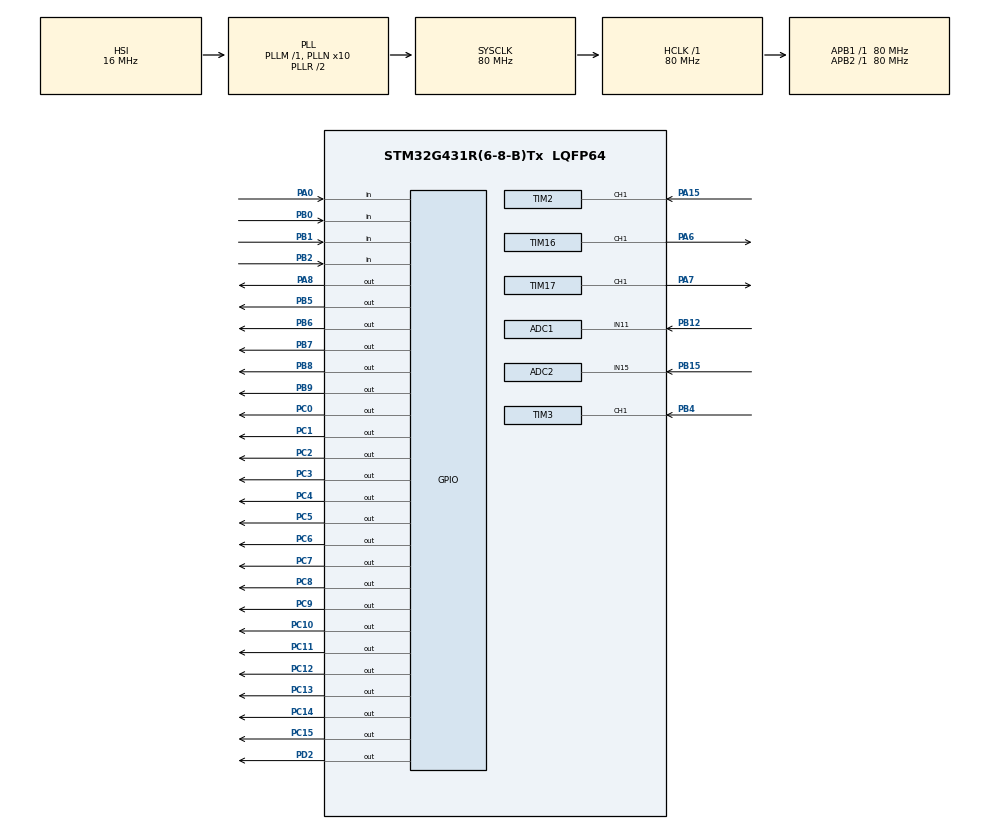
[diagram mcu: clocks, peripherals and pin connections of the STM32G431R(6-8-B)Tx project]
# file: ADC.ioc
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ADC1.Channel-0\#ChannelRegularConversion=ADC_CHANNEL_11
ADC1.NbrOfConversionFlag=1
ADC1.OffsetNumber-0\#ChannelRegularConversion=ADC_OFFSET_NONE
ADC1.Rank-0\#ChannelRegularConversion=1
ADC1.SamplingTime-0\#ChannelRegularConversion=ADC_SAMPLETIME_2CYCLES_5
ADC1.master=1
ADC2.Channel-0\#ChannelRegularConversion=ADC_CHANNEL_15
ADC2.NbrOfConversionFlag=1
ADC2.OffsetNumber-0\#ChannelRegularConversion=ADC_OFFSET_NONE
ADC2.Rank-0\#ChannelRegularConversion=1
ADC2.SamplingTime-0\#ChannelRegularConversion=ADC_SAMPLETIME_2CYCLES_5
Mcu.Family=STM32G4
Mcu.Name=STM32G431R(6-8-B)Tx
Mcu.Package=LQFP64
NVIC.PriorityGroup=NVIC_PRIORITYGROUP_4
NVIC.TIM2_IRQn=true\:0\:0\:false\:false\:true\:true\:true\:true
NVIC.TIM3_IRQn=true\:0\:0\:false\:false\:true\:true\:true\:true
NVIC.TIM4_IRQn=true\:0\:0\:false\:false\:true\:true\:true\:true
PA0.GPIO_PuPd=GPIO_PULLDOWN
PA0.Signal=GPIO_Input
PA13.Mode=Serial_Wire
PA13.Signal=SYS_JTMS-SWDIO
PA14.Mode=Serial_Wire
PA14.Signal=SYS_JTCK-SWCLK
PA15.Signal=S_TIM2_CH1
PA6.Signal=S_TIM16_CH1
PA7.Signal=S_TIM17_CH1
PA8.Signal=GPIO_Output
PB0.GPIO_PuPd=GPIO_PULLDOWN
PB0.Signal=GPIO_Input
PB1.GPIO_PuPd=GPIO_PULLDOWN
PB1.Signal=GPIO_Input
PB12.Mode=IN11-Single-Ended
PB12.Signal=ADC1_IN11
PB15.Mode=IN15-Single-Ended
PB15.Signal=ADC2_IN15
PB2.GPIO_PuPd=GPIO_PULLDOWN
PB2.Signal=GPIO_Input
PB4.Signal=S_TIM3_CH1
PB5.Signal=GPIO_Output
PB6.Signal=GPIO_Output
PB7.Signal=GPIO_Output
PB8-BOOT0.Signal=GPIO_Output
PB9.Signal=GPIO_Output
PC0.Signal=GPIO_Output
PC1.Signal=GPIO_Output
PC10.PinState=GPIO_PIN_SET
PC10.Signal=GPIO_Output
PC11.PinState=GPIO_PIN_SET
PC11.Signal=GPIO_Output
PC12.PinState=GPIO_PIN_SET
PC12.Signal=GPIO_Output
PC13.PinState=GPIO_PIN_SET
PC13.Signal=GPIO_Output
PC14-OSC32_IN.PinState=GPIO_PIN_SET
PC14-OSC32_IN.Signal=GPIO_Output
PC15-OSC32_OUT.PinState=GPIO_PIN_SET
PC15-OSC32_OUT.Signal=GPIO_Output
PC2.Signal=GPIO_Output
PC3.Signal=GPIO_Output
PC4.Signal=GPIO_Output
PC5.Signal=GPIO_Output
PC6.Signal=GPIO_Output
PC7.Signal=GPIO_Output
PC8.PinState=GPIO_PIN_SET
PC8.Signal=GPIO_Output
PC9.PinState=GPIO_PIN_SET
PC9.Signal=GPIO_Output
PD2.Signal=GPIO_Output
PF0-OSC_IN.Mode=HSE-External-Oscillator
PF0-OSC_IN.Signal=RCC_OSC_IN
PF1-OSC_OUT.Mode=HSE-External-Oscillator
PF1-OSC_OUT.Signal=RCC_OSC_OUT
ProjectManager.HeapSize=0x200
ProjectManager.StackSize=0x400
ProjectManager.TargetToolchain=MDK-ARM V5.32
RCC.ADC12Freq_Value=80000000
RCC.AHBFreq_Value=80000000
RCC.APB1Freq_Value=80000000
RCC.APB1TimFreq_Value=80000000
RCC.APB2Freq_Value=80000000
RCC.APB2TimFreq_Value=80000000
RCC.CortexFreq_Value=80000000
RCC.EXTERNAL_CLOCK_VALUE=12288000
RCC.HCLKFreq_Value=80000000
RCC.HSE_VALUE=24000000
RCC.HSI48_VALUE=48000000
RCC.HSI_VALUE=16000000
RCC.LSE_VALUE=32768
RCC.PLLN=10
RCC.SYSCLKFreq_VALUE=80000000
RCC.SYSCLKSource=RCC_SYSCLKSOURCE_PLLCLK
RCC.USBFreq_Value=80000000
RCC.VCOOutputFreq_Value=160000000
SH.S_TIM16_CH1.0=TIM16_CH1,PWM Generation1 CH1
SH.S_TIM17_CH1.0=TIM17_CH1,PWM Generation1 CH1
SH.S_TIM2_CH1.0=TIM2_CH1,Input_Capture1_from_TI1
SH.S_TIM3_CH1.0=TIM3_CH1,Input_Capture1_from_TI1
TIM16.Channel=TIM_CHANNEL_1
TIM16.PeriodNoDither=100-1
TIM16.Prescaler=8000-1
TIM16.PulseNoDither_1=20
TIM17.Channel=TIM_CHANNEL_1
TIM17.PeriodNoDither=100-1
TIM17.Prescaler=4000-1
TIM17.PulseNoDither_1=20
TIM2.Channel-Input_Capture1_from_TI1=TIM_CHANNEL_1
TIM2.Channel-Input_Capture2_from_TI1_63=TIM_CHANNEL_2
TIM2.ICPolarity_CH2=TIM_INPUTCHANNELPOLARITY_FALLING
TIM2.Prescaler=80-1
TIM3.Channel-Input_Capture1_from_TI1=TIM_CHANNEL_1
TIM3.Channel-Input_Capture2_from_TI1_63=TIM_CHANNEL_2
TIM3.ICPolarity_CH1=TIM_INPUTCHANNELPOLARITY_RISING
TIM3.ICPolarity_CH2=TIM_INPUTCHANNELPOLARITY_FALLING
TIM3.Prescaler=80-1
TIM4.PeriodNoDither=10000-1
TIM4.Prescaler=80-1
VP_SYS_VS_DBSignals.Mode=DisableDeadBatterySignals
VP_TIM16_VS_ClockSourceINT.Mode=Enable_Timer
VP_TIM17_VS_ClockSourceINT.Mode=Enable_Timer
VP_TIM2_VS_indirect_ch1.Mode=Input_Capture2_from_TI1_63
VP_TIM3_VS_indirect_ch1.Mode=Input_Capture2_from_TI1_63
VP_TIM4_VS_ClockSourceINT.Mode=Internal
board=custom

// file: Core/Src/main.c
/* USER CODE BEGIN Header */
/**
  ******************************************************************************
  * @file           : main.c
  * @brief          : Main program body
  ******************************************************************************
  * @attention
  *
  * Copyright (c) 2023 STMicroelectronics.
  * All rights reserved.
  *
  * This software is licensed under terms that can be found in the LICENSE file
  * in the root directory of this software component.
  * If no LICENSE file comes with this software, it is provided AS-IS.
  *
  ******************************************************************************
  */
/* USER CODE END Header */
#include "main.h"
#include "adc.h"
#include "tim.h"
#include "gpio.h"

/* USER CODE BEGIN Includes */
#include "led.h"
#include "lcd.h"
#include "stdio.h"
#include "interrupt.h"
#include "badc.h"
#include "i2c_hal.h"
/* USER CODE END Includes */

/* USER CODE BEGIN PTD */
extern struct keys key[];//在main函数引用interrupt.c文件里的struct keys key变量
extern uint frq1,frq2;
extern float duty1,duty2;

uchar view=0;//默认在第一个界面

uchar pa6_duty=10;//PA6的占空比
uchar pa7_duty=10;

void key_proc(void);
void disp_proc(void);
/* USER CODE END PTD */

void SystemClock_Config(void);

int main(void)
{

  /* MCU Configuration--------------------------------------------------------*/

  /* Reset of all peripherals, Initializes the Flash interface and the Systick. */
  HAL_Init();

  /* Configure the system clock */
  SystemClock_Config();

  /* Initialize all configured peripherals */
  MX_GPIO_Init();
  MX_TIM2_Init();
  MX_TIM3_Init();
  MX_TIM4_Init();
  MX_TIM16_Init();
  MX_TIM17_Init();
  MX_ADC1_Init();
  MX_ADC2_Init();
  /* USER CODE BEGIN 2 */
    LED_Disp(0x00);//LED的初始化，即让所有led灭
    LCD_Init();//LCD屏的初始化

	LCD_Clear(Black);//把屏幕清空，清成黑色
	LCD_SetBackColor(Black);//设置背景色
	LCD_SetTextColor(White);//设置文本颜色(前景色)

	HAL_TIM_Base_Start_IT(&htim4);//开启定时器3的中断

    //PA6输出频率固定为100HZ，占空比可调节的脉冲信号
    //PA7输出频率固定为200HZ，占空比可调节的脉冲信号
    //打开PWM输出
    HAL_TIM_PWM_Start(&htim16,TIM_CHANNEL_1);//第一个参数为哪个定时器，第二个参数为通道几
    HAL_TIM_PWM_Start(&htim17,TIM_CHANNEL_1);//第一个参数为哪个定时器，第二个参数为通道几
    HAL_TIM_IC_Start_IT(&htim2,TIM_CHANNEL_1);//打开定时器2通道1
    HAL_TIM_IC_Start_IT(&htim3,TIM_CHANNEL_1);//打开定时器3通道1
  /* USER CODE END 2 */

  /* Infinite loop */
  while (1)
  {

    /* USER CODE BEGIN 3 */
          LED_Disp(0x01);
      HAL_Delay(500);//延时500ms
      LED_Disp(0x00);
      HAL_Delay(500);//延时500ms

      key_proc();
      disp_proc();
  }
  /* USER CODE END 3 */
}

void SystemClock_Config(void)
{
  RCC_OscInitTypeDef RCC_OscInitStruct = {0};
  RCC_ClkInitTypeDef RCC_ClkInitStruct = {0};

  /** Configure the main internal regulator output voltage
  */
  HAL_PWREx_ControlVoltageScaling(PWR_REGULATOR_VOLTAGE_SCALE1);

  /** Initializes the RCC Oscillators according to the specified parameters
  * in the RCC_OscInitTypeDef structure.
  */
  RCC_OscInitStruct.OscillatorType = RCC_OSCILLATORTYPE_HSI;
  RCC_OscInitStruct.HSIState = RCC_HSI_ON;
  RCC_OscInitStruct.HSICalibrationValue = RCC_HSICALIBRATION_DEFAULT;
  RCC_OscInitStruct.PLL.PLLState = RCC_PLL_ON;
  RCC_OscInitStruct.PLL.PLLSource = RCC_PLLSOURCE_HSI;
  RCC_OscInitStruct.PLL.PLLM = RCC_PLLM_DIV1;
  RCC_OscInitStruct.PLL.PLLN = 10;
  RCC_OscInitStruct.PLL.PLLP = RCC_PLLP_DIV2;
  RCC_OscInitStruct.PLL.PLLQ = RCC_PLLQ_DIV2;
  RCC_OscInitStruct.PLL.PLLR = RCC_PLLR_DIV2;
  if (HAL_RCC_OscConfig(&RCC_OscInitStruct) != HAL_OK)
  {
    Error_Handler();
  }

  /** Initializes the CPU, AHB and APB buses clocks
  */
  RCC_ClkInitStruct.ClockType = RCC_CLOCKTYPE_HCLK|RCC_CLOCKTYPE_SYSCLK
                              |RCC_CLOCKTYPE_PCLK1|RCC_CLOCKTYPE_PCLK2;
  RCC_ClkInitStruct.SYSCLKSource = RCC_SYSCLKSOURCE_PLLCLK;
  RCC_ClkInitStruct.AHBCLKDivider = RCC_SYSCLK_DIV1;
  RCC_ClkInitStruct.APB1CLKDivider = RCC_HCLK_DIV1;
  RCC_ClkInitStruct.APB2CLKDivider = RCC_HCLK_DIV1;

  if (HAL_RCC_ClockConfig(&RCC_ClkInitStruct, FLASH_LATENCY_2) != HAL_OK)
  {
    Error_Handler();
  }
}

/* USER CODE BEGIN 4 */
void key_proc(void){
      if(key[0].single_flag==1){//第一个按键被按下
          view=!view;
      LCD_Clear(Black);//切换界面时要进行清屏操作，避免上一界面残留
      key[0].single_flag=0;//将按下标志位清0，避免被重复执行
      }
      if(key[1].single_flag==1){//第二个按键被按下
      pa6_duty+=10;
      if(pa6_duty>=100)
          pa6_duty=10;
       //将设置的占空比应用到输出当中
      __HAL_TIM_SetCompare(&htim16,TIM_CHANNEL_1,pa6_duty);//第一个参数是哪个定时器，第二个参数是哪个通道，第三个参数是值
      LCD_Clear(Black);//切换界面时要进行清屏操作，避免上一界面残留
      key[1].single_flag=0;//将按下标志位清0，避免被重复执行

      }
      if(key[2].single_flag==1){//第三个按键被按下
      pa7_duty+=10;
      if(pa7_duty>=100)
          pa7_duty=10;
      __HAL_TIM_SetCompare(&htim17,TIM_CHANNEL_1,pa7_duty);//第一个参数是哪个定时器，第二个参数是哪个通道，第三个参数是值
      LCD_Clear(Black);//切换界面时要进行清屏操作，避免上一界面残留
      key[2].single_flag=0;//将按下标志位清0，避免被重复执行

      }
      if(key[3].single_flag==1){//第四个按键被按下
            //将频率存储到EEPROM
          //EEPROM是8位，频率是16位，所以需要把频率分为高八位和低八位
         uchar frq_h=frq1>>8;
          uchar frq_l=frq1&0xff;
          eeprom_write(1,frq_h);
          HAL_Delay(10);//延时10毫秒
          eeprom_write(2,frq_l);
          key[3].single_flag=0;//将按下标志位清0，避免被重复执行

      }
}

//LCD屏显示
void disp_proc(void){
    if(view==0){
      char text[30];//字符数组
      sprintf(text,"      Data       ");
      LCD_DisplayStringLine(Line1, (uint8_t *)text);//将text里面的数据打印到第1行

      sprintf(text,"      FRQ1=%d       ",frq1);
      LCD_DisplayStringLine(Line2, (uint8_t *)text);//将text里面的数据打印到第2行
      sprintf(text,"      duty1=%.3f       ",duty1);
      LCD_DisplayStringLine(Line3, (uint8_t *)text);//将text里面的数据打印到第3行

     sprintf(text,"      FRQ2=%d       ",frq2);
     LCD_DisplayStringLine(Line4, (uint8_t *)text);//将text里面的数据打印到第4行
     sprintf(text,"      duty2=%.3f       ",duty2);
     LCD_DisplayStringLine(Line5, (uint8_t *)text);//将text里面的数据打印到第5行

        sprintf(text,"      V:%.2f v      ",getADC(&hadc1));
     LCD_DisplayStringLine(Line6, (uint8_t *)text);//将text里面的数据打印到第6行

        sprintf(text,"      V:%.2f v     ",getADC(&hadc2));
     LCD_DisplayStringLine(Line7, (uint8_t *)text);//将text里面的数据打印到第7行

     uint eep_temp=(eeprom_read(1)<<8)+(eeprom_read(2));//对读出来的数据进行处理

     sprintf(text,"      FRQ_eep=%d     ",eep_temp);
     LCD_DisplayStringLine(Line8, (uint8_t *)text);//将text里面的数据打印到第7行

    }
    if(view==1){
      char text[30];//字符数组
      sprintf(text,"      Para       ");
      LCD_DisplayStringLine(Line1, (uint8_t *)text);//将text里面的数据打印到第九行
        sprintf(text,"    PA6:%d       ",pa6_duty);
        LCD_DisplayStringLine(Line2, (uint8_t *)text);//将text里面的数据打印到第九行
        sprintf(text,"    PA7:%d       ",pa7_duty);
        LCD_DisplayStringLine(Line4, (uint8_t *)text);//将text里面的数据打印到第九行

    }
}
/* USER CODE END 4 */

void Error_Handler(void)
{
  __disable_irq();
  while (1)
  {
  }
}
